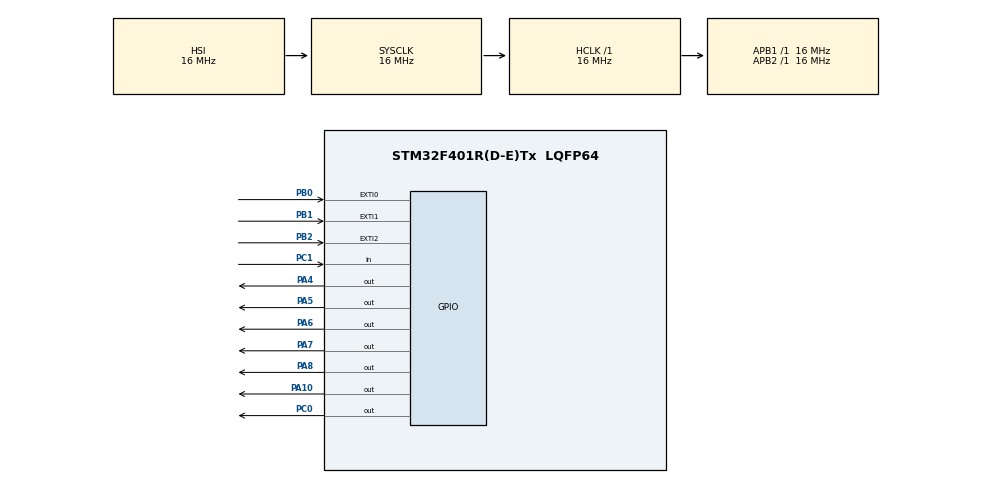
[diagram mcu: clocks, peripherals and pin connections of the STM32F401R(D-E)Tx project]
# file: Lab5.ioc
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Mcu.Family=STM32F4
Mcu.Name=STM32F401R(D-E)Tx
Mcu.Package=LQFP64
NVIC.EXTI0_IRQn=true\:0\:0\:false\:false\:true\:true\:true
NVIC.EXTI1_IRQn=true\:0\:0\:false\:false\:true\:true\:true
NVIC.EXTI2_IRQn=true\:0\:0\:false\:false\:true\:true\:true
NVIC.PriorityGroup=NVIC_PRIORITYGROUP_4
NVIC.TIM2_IRQn=true\:0\:0\:false\:false\:true\:true\:true
NVIC.TIM3_IRQn=true\:0\:0\:false\:false\:true\:true\:true
PA10.Signal=GPIO_Output
PA4.Signal=GPIO_Output
PA5.Signal=GPIO_Output
PA6.Signal=GPIO_Output
PA7.Signal=GPIO_Output
PA8.Signal=GPIO_Output
PB0.GPIO_ModeDefaultEXTI=GPIO_MODE_IT_FALLING
PB0.GPIO_PuPd=GPIO_PULLUP
PB0.Signal=GPXTI0
PB1.GPIO_ModeDefaultEXTI=GPIO_MODE_IT_FALLING
PB1.GPIO_PuPd=GPIO_PULLUP
PB1.Signal=GPXTI1
PB2.GPIO_ModeDefaultEXTI=GPIO_MODE_IT_RISING_FALLING
PB2.GPIO_PuPd=GPIO_PULLUP
PB2.Signal=GPXTI2
PC0.Signal=GPIO_Output
PC1.Signal=GPIO_Input
ProjectManager.HeapSize=0x200
ProjectManager.StackSize=0x400
ProjectManager.TargetToolchain=MDK-ARM V5.32
RCC.AHBFreq_Value=16000000
RCC.APB1Freq_Value=16000000
RCC.APB2Freq_Value=16000000
RCC.CortexFreq_Value=16000000
RCC.HSE_VALUE=25000000
RCC.HSI_VALUE=16000000
RCC.LSE_VALUE=32768
RCC.SYSCLKFreq_VALUE=16000000
RCC.VCOOutputFreq_Value=192000000
TIM2.Period=249
TIM2.Prescaler=15999
TIM3.Period=249
TIM3.Prescaler=15999
VP_TIM2_VS_ClockSourceINT.Mode=Internal
VP_TIM3_VS_ClockSourceINT.Mode=Internal
board=custom

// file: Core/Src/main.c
/* USER CODE BEGIN Header */
/**
  ******************************************************************************
  * @file           : main.c
  * @brief          : Main program body
  ******************************************************************************
  * @attention
  *
  * Copyright (c) 2022 STMicroelectronics.
  * All rights reserved.
  *
  * This software is licensed under terms that can be found in the LICENSE file
  * in the root directory of this software component.
  * If no LICENSE file comes with this software, it is provided AS-IS.
  *
  ******************************************************************************
  */
/* USER CODE END Header */
#include "main.h"

/* USER CODE BEGIN Includes */
#include "LCD16x2.h"
#include <math.h>

/* USER CODE END Includes */

TIM_HandleTypeDef htim2;
TIM_HandleTypeDef htim3;

/* USER CODE BEGIN PV */
volatile int mmm = 0;
volatile int mmm_250 = 0;
int tim3_mmm_250 = 0;
volatile int SS = 0;
volatile int MM = 0;
volatile int turendOff = 0;

/* USER CODE END PV */

void SystemClock_Config(void);
static void MX_GPIO_Init(void);
static void MX_TIM2_Init(void);
static void MX_TIM3_Init(void);

/* USER CODE BEGIN 0 */
void lcd_clear_and_set_cursor(void){
	LCD_Clear();
	LCD_Set_Cursor(1, 1);
}
int get_number_length(int x){
	int cnt = 0;
	int tmp = x;
	do{
		tmp = tmp / 10;
		cnt++;
	}while (tmp != 0);
	return cnt;
}
void print_number_on_LCD(int x){
	int cnt = get_number_length(x);
	while(cnt > 0){
		int z = x / pow(10, cnt - 1);
		x = x % (int)pow(10, cnt - 1);
		LCD_Write_Char(z + '0');
		cnt = cnt - 1;
	}
}
void print2Zeros(int x){
	if(x < 10)
		LCD_Write_Char('0');
}
void print3Zeros(int x){
	if(x < 100)
		LCD_Write_Char('0');
	if(x < 10)
		LCD_Write_Char('0');
}
void print_time(void){
	lcd_clear_and_set_cursor();
	print2Zeros(MM);
	print_number_on_LCD(MM);
	LCD_Write_Char(':');
	print2Zeros(SS);
	print_number_on_LCD(SS);
	LCD_Write_Char(':');
	print3Zeros(mmm);
	print_number_on_LCD(mmm);
}
void set_time_zero(void){
	mmm = 0;
	SS = 0;
	MM = 0;
	print_time();
}
void HAL_GPIO_EXTI_Callback(uint16_t GPIO_Pin)
{
	if ( GPIO_Pin == GPIO_PIN_0 && turendOff == 0){
		print_time();
		HAL_TIM_Base_Start_IT(&htim2);
	}
	else if ( GPIO_Pin == GPIO_PIN_1 && turendOff == 0)
		HAL_TIM_Base_Stop_IT(&htim2);
	else if ( GPIO_Pin == GPIO_PIN_2 && turendOff == 0){
		if(HAL_GPIO_ReadPin(GPIOB, GPIO_PIN_2) == GPIO_PIN_RESET){
			HAL_TIM_Base_Stop_IT(&htim2);
			set_time_zero();
			HAL_TIM_Base_Start_IT(&htim3);
		}
		else
			HAL_TIM_Base_Stop_IT(&htim3);
	}

}
void HAL_TIM_PeriodElapsedCallback(TIM_HandleTypeDef *htim){

	if (htim->Instance == TIM2){
		mmm_250++;
		if(mmm_250 == 4){
			mmm_250 = 0;
			SS++;
		}
		mmm = mmm_250 * 250;
		print_time();
		if(SS == 59){
			SS = 0;
			MM++;
		}
	}
	else if (htim->Instance == TIM3){
		tim3_mmm_250++;
		if(turendOff){
			if(tim3_mmm_250 == 2){
				lcd_clear_and_set_cursor();
        LCD_Write_String("Turn Off");
				tim3_mmm_250 = 0;
			}
		}
		else{
			if(tim3_mmm_250 == 12){
				lcd_clear_and_set_cursor();
				LCD_Write_String("Turn Off");
				__HAL_TIM_SET_COUNTER(&htim3, 0);
				turendOff = 1;
				tim3_mmm_250 = 0;
			}
		}
	}
}
/* USER CODE END 0 */

int main(void)
{

  /* MCU Configuration--------------------------------------------------------*/

  /* Reset of all peripherals, Initializes the Flash interface and the Systick. */
  HAL_Init();

  /* USER CODE BEGIN Init */
	LCD_Init();
  /* USER CODE END Init */

  /* Configure the system clock */
  SystemClock_Config();

  /* Initialize all configured peripherals */
  MX_GPIO_Init();
  MX_TIM2_Init();
  MX_TIM3_Init();
  /* USER CODE BEGIN 2 */
	lcd_clear_and_set_cursor();
	LCD_Write_String("Welcome!");
  /* USER CODE END 2 */

  /* Infinite loop */
  while (1)
  {

  }
}

void SystemClock_Config(void)
{
  RCC_OscInitTypeDef RCC_OscInitStruct = {0};
  RCC_ClkInitTypeDef RCC_ClkInitStruct = {0};

  /** Configure the main internal regulator output voltage
  */
  __HAL_RCC_PWR_CLK_ENABLE();
  __HAL_PWR_VOLTAGESCALING_CONFIG(PWR_REGULATOR_VOLTAGE_SCALE2);
  /** Initializes the RCC Oscillators according to the specified parameters
  * in the RCC_OscInitTypeDef structure.
  */
  RCC_OscInitStruct.OscillatorType = RCC_OSCILLATORTYPE_HSI;
  RCC_OscInitStruct.HSIState = RCC_HSI_ON;
  RCC_OscInitStruct.HSICalibrationValue = RCC_HSICALIBRATION_DEFAULT;
  RCC_OscInitStruct.PLL.PLLState = RCC_PLL_NONE;
  if (HAL_RCC_OscConfig(&RCC_OscInitStruct) != HAL_OK)
  {
    Error_Handler();
  }
  /** Initializes the CPU, AHB and APB buses clocks
  */
  RCC_ClkInitStruct.ClockType = RCC_CLOCKTYPE_HCLK|RCC_CLOCKTYPE_SYSCLK
                              |RCC_CLOCKTYPE_PCLK1|RCC_CLOCKTYPE_PCLK2;
  RCC_ClkInitStruct.SYSCLKSource = RCC_SYSCLKSOURCE_HSI;
  RCC_ClkInitStruct.AHBCLKDivider = RCC_SYSCLK_DIV1;
  RCC_ClkInitStruct.APB1CLKDivider = RCC_HCLK_DIV1;
  RCC_ClkInitStruct.APB2CLKDivider = RCC_HCLK_DIV1;

  if (HAL_RCC_ClockConfig(&RCC_ClkInitStruct, FLASH_LATENCY_0) != HAL_OK)
  {
    Error_Handler();
  }
}

static void MX_TIM2_Init(void)
{

  TIM_ClockConfigTypeDef sClockSourceConfig = {0};
  TIM_MasterConfigTypeDef sMasterConfig = {0};

  htim2.Instance = TIM2;
  htim2.Init.Prescaler = 15999;
  htim2.Init.CounterMode = TIM_COUNTERMODE_UP;
  htim2.Init.Period = 249;
  htim2.Init.ClockDivision = TIM_CLOCKDIVISION_DIV1;
  htim2.Init.AutoReloadPreload = TIM_AUTORELOAD_PRELOAD_DISABLE;
  if (HAL_TIM_Base_Init(&htim2) != HAL_OK)
  {
    Error_Handler();
  }
  sClockSourceConfig.ClockSource = TIM_CLOCKSOURCE_INTERNAL;
  if (HAL_TIM_ConfigClockSource(&htim2, &sClockSourceConfig) != HAL_OK)
  {
    Error_Handler();
  }
  sMasterConfig.MasterOutputTrigger = TIM_TRGO_RESET;
  sMasterConfig.MasterSlaveMode = TIM_MASTERSLAVEMODE_DISABLE;
  if (HAL_TIMEx_MasterConfigSynchronization(&htim2, &sMasterConfig) != HAL_OK)
  {
    Error_Handler();
  }

}

static void MX_TIM3_Init(void)
{

  TIM_ClockConfigTypeDef sClockSourceConfig = {0};
  TIM_MasterConfigTypeDef sMasterConfig = {0};

  htim3.Instance = TIM3;
  htim3.Init.Prescaler = 15999;
  htim3.Init.CounterMode = TIM_COUNTERMODE_UP;
  htim3.Init.Period = 249;
  htim3.Init.ClockDivision = TIM_CLOCKDIVISION_DIV1;
  htim3.Init.AutoReloadPreload = TIM_AUTORELOAD_PRELOAD_DISABLE;
  if (HAL_TIM_Base_Init(&htim3) != HAL_OK)
  {
    Error_Handler();
  }
  sClockSourceConfig.ClockSource = TIM_CLOCKSOURCE_INTERNAL;
  if (HAL_TIM_ConfigClockSource(&htim3, &sClockSourceConfig) != HAL_OK)
  {
    Error_Handler();
  }
  sMasterConfig.MasterOutputTrigger = TIM_TRGO_RESET;
  sMasterConfig.MasterSlaveMode = TIM_MASTERSLAVEMODE_DISABLE;
  if (HAL_TIMEx_MasterConfigSynchronization(&htim3, &sMasterConfig) != HAL_OK)
  {
    Error_Handler();
  }

}

static void MX_GPIO_Init(void)
{
  GPIO_InitTypeDef GPIO_InitStruct = {0};

  /* GPIO Ports Clock Enable */
  __HAL_RCC_GPIOC_CLK_ENABLE();
  __HAL_RCC_GPIOA_CLK_ENABLE();
  __HAL_RCC_GPIOB_CLK_ENABLE();

  /*Configure GPIO pin Output Level */
  HAL_GPIO_WritePin(GPIOC, GPIO_PIN_0, GPIO_PIN_RESET);

  /*Configure GPIO pin Output Level */
  HAL_GPIO_WritePin(GPIOA, GPIO_PIN_4|GPIO_PIN_5|GPIO_PIN_6|GPIO_PIN_7
                          |GPIO_PIN_8|GPIO_PIN_10, GPIO_PIN_RESET);

  /*Configure GPIO pin : PC0 */
  GPIO_InitStruct.Pin = GPIO_PIN_0;
  GPIO_InitStruct.Mode = GPIO_MODE_OUTPUT_PP;
  GPIO_InitStruct.Pull = GPIO_NOPULL;
  GPIO_InitStruct.Speed = GPIO_SPEED_FREQ_LOW;
  HAL_GPIO_Init(GPIOC, &GPIO_InitStruct);

  /*Configure GPIO pin : PC1 */
  GPIO_InitStruct.Pin = GPIO_PIN_1;
  GPIO_InitStruct.Mode = GPIO_MODE_INPUT;
  GPIO_InitStruct.Pull = GPIO_NOPULL;
  HAL_GPIO_Init(GPIOC, &GPIO_InitStruct);

  /*Configure GPIO pins : PA4 PA5 PA6 PA7
                           PA8 PA10 */
  GPIO_InitStruct.Pin = GPIO_PIN_4|GPIO_PIN_5|GPIO_PIN_6|GPIO_PIN_7
                          |GPIO_PIN_8|GPIO_PIN_10;
  GPIO_InitStruct.Mode = GPIO_MODE_OUTPUT_PP;
  GPIO_InitStruct.Pull = GPIO_NOPULL;
  GPIO_InitStruct.Speed = GPIO_SPEED_FREQ_LOW;
  HAL_GPIO_Init(GPIOA, &GPIO_InitStruct);

  /*Configure GPIO pins : PB0 PB1 */
  GPIO_InitStruct.Pin = GPIO_PIN_0|GPIO_PIN_1;
  GPIO_InitStruct.Mode = GPIO_MODE_IT_FALLING;
  GPIO_InitStruct.Pull = GPIO_PULLUP;
  HAL_GPIO_Init(GPIOB, &GPIO_InitStruct);

  /*Configure GPIO pin : PB2 */
  GPIO_InitStruct.Pin = GPIO_PIN_2;
  GPIO_InitStruct.Mode = GPIO_MODE_IT_RISING_FALLING;
  GPIO_InitStruct.Pull = GPIO_PULLUP;
  HAL_GPIO_Init(GPIOB, &GPIO_InitStruct);

  /* EXTI interrupt init*/
  HAL_NVIC_SetPriority(EXTI0_IRQn, 0, 0);
  HAL_NVIC_EnableIRQ(EXTI0_IRQn);

  HAL_NVIC_SetPriority(EXTI1_IRQn, 0, 0);
  HAL_NVIC_EnableIRQ(EXTI1_IRQn);

  HAL_NVIC_SetPriority(EXTI2_IRQn, 0, 0);
  HAL_NVIC_EnableIRQ(EXTI2_IRQn);

}

void Error_Handler(void)
{
  __disable_irq();
  while (1)
  {
  }
}
